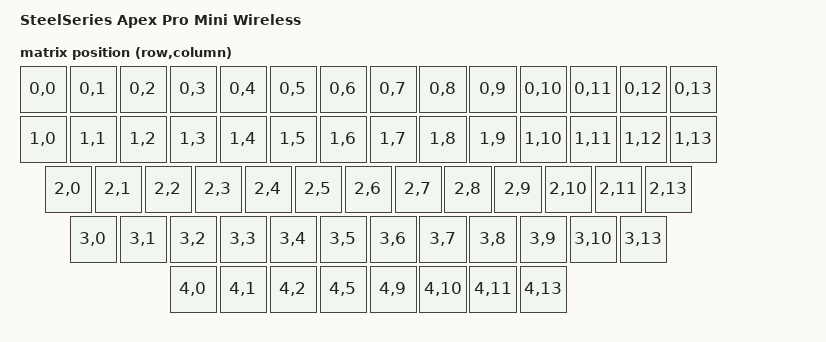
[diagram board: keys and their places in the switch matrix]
/* SPDX-License-Identifier: MIT */

/dts-v1/;
#include <nordic/nrf52833_qiaa.dtsi>
#include <dt-bindings/zmk/matrix_transform.h>
#include <layouts/common/60percent/ansi.dtsi>
#include "apex_pro_mini_wl-pinctrl.dtsi"

/ {
    model = "SteelSeries Apex Pro Mini Wireless";
    compatible = "steelseries,apex-pro-mini-wl";

    chosen {
        zephyr,sram = &sram0;
        zephyr,flash = &flash0;
        zephyr,code-partition = &code_partition;
        zmk,kscan = &kscan0;
        zmk,physical-layout = &layout_60_ansi;
    };

    default_transform: keymap_transform_0 {
        compatible = "zmk,matrix-transform";
        columns = <14>;
        rows = <5>;
        map = <
RC(0,0) RC(0,1) RC(0,2) RC(0,3) RC(0,4) RC(0,5) RC(0,6) RC(0,7) RC(0,8) RC(0,9) RC(0,10) RC(0,11) RC(0,12)     RC(0,13)
RC(1,0)   RC(1,1) RC(1,2) RC(1,3) RC(1,4) RC(1,5) RC(1,6) RC(1,7) RC(1,8) RC(1,9) RC(1,10) RC(1,11) RC(1,12)   RC(1,13)
RC(2,0)     RC(2,1) RC(2,2) RC(2,3) RC(2,4) RC(2,5) RC(2,6) RC(2,7) RC(2,8) RC(2,9) RC(2,10) RC(2,11)          RC(2,13)
RC(3,0)       RC(3,1) RC(3,2) RC(3,3) RC(3,4) RC(3,5) RC(3,6) RC(3,7) RC(3,8) RC(3,9)    RC(3,10)              RC(3,13)
RC(4,0)   RC(4,1)   RC(4,2)                      RC(4,5)                       RC(4,9)   RC(4,10)   RC(4,11)   RC(4,13)
        >;
    };

    kscan0: kscan {
        compatible = "steelseries,apex-stm32-kscan";
        rows = <5>;
        columns = <14>;
    };
};

&layout_60_ansi {
    transform = <&default_transform>;
};

&gpiote {
    status = "okay";
};

&gpio0 {
    status = "okay";
};

&gpio1 {
    status = "okay";
};

/*
 * Full 128 KiB SRAM. The old 0x20000000-0x20002fff (12 KiB) reservation was the
 * Nordic S113/s140 SoftDevice's RAM contract - reclaimed now that the SD is gone
 * (see docs/FLASH_MEMORY_MAP.md). Safe: the app relocates its vector table (VTOR
 * -> 0x1000, CONFIG_CPU_CORTEX_M_HAS_VTOR) so the MBR's IRQ-forwarding is
 * bypassed and needs no app RAM, and the Adafruit double-reset magic lives at
 * 0x20007F7C (untouched by this change; double-tap works on boot-window timing).
 */
&sram0 {
    reg = <0x20000000 0x00020000>;
};

/*
 * Stock firmware uses SPIM3 at 0x4002f000 with SCK P0.4, MOSI P0.6 and
 * MISO P0.7. It configures no hardware chip select. P0.2/P1.5 are driven
 * among the unresolved manual control signals. P0.24 signals a queued STM32
 * A1 event. The peripheral remains disabled until the transport driver is
 * enabled.
 */
&spi3 {
    compatible = "nordic,nrf-spim";
    pinctrl-0 = <&apex_stm32_spi_default>;
    pinctrl-1 = <&apex_stm32_spi_sleep>;
    pinctrl-names = "default", "sleep";
    overrun-character = <0>;
    status = "disabled";
};

zephyr_udc0: &usbd {
    /* The physical USB connector terminates at the stock STM32. */
    status = "disabled";
};

/*
 * Current Adafruit nRF52 bootloader layout (nRF52833, 512 KiB). The stock
 * loader and s140 are gone; the application uses Zephyr's controller and starts
 * immediately above the retained MBR. See docs/FLASH_MEMORY_MAP.md.
 */
&flash0 {
    partitions {
        compatible = "fixed-partitions";
        #address-cells = <1>;
        #size-cells = <1>;

        /* MBR only (0x0-0x1000). The s140 SoftDevice that used to sit at
         * 0x1000-0x27000 is GONE: ZMK uses Zephyr's own BLE controller and never
         * enabled the SD, and the Adafruit bootloader launches the app at
         * MBR_SIZE (0x1000) when no SD is present (is_sd_existed()==false). This
         * reclaims ~152 KiB - see docs/FLASH_MEMORY_MAP.md. */
        mbr_partition: partition@0 {
            reg = <0x00000000 0x00001000>;
        };

        /* Application slot, now right above the MBR. zephyr,code-partition ->
         * CONFIG_FLASH_LOAD_OFFSET derives 0x1000 (CONFIG_USE_DT_CODE_PARTITION). */
        code_partition: partition@1000 {
            label = "image-0";
            reg = <0x00001000 0x00071000>;
        };

        /* ZMK settings (bonds, RGB state, etc.). */
        storage_partition: partition@72000 {
            label = "storage";
            reg = <0x00072000 0x00002000>;
        };

        /* Adafruit bootloader (0x74000-0x7E000). MBR-params (0x7E000) and
         * bootloader-settings (0x7F000) are owned by the bootloader. */
        boot_partition: partition@74000 {
            reg = <0x00074000 0x0000A000>;
        };
    };
};

/ {
    behaviors {
        /* Toggles the analog gamepad axis. Declared here rather than in the
         * G4B overlay because the keymap is shared by every stage image, and a
         * behavior a shared keymap references has to resolve in all of them.
         * src/behavior_analog_g4b.c is compiled for every build of this board
         * for the same reason, falling back to stubs when the gamepad is off.
         */
        /* Reboot into the Adafruit bootloader (UF2/serial DFU). Bound via a
         * combo to Fn+Esc+RCtrl in the keymap. Declared here (like the others)
         * because the keymap is shared by every stage image. */
        apex_dfu: behavior_dfu {
            compatible = "apex,behavior-dfu";
            #binding-cells = <0>;
            display-name = "Bootloader (DFU)";
        };

        analog_tog: behavior_analog_toggle {
            compatible = "apex,behavior-analog-toggle";
            #binding-cells = <0>;
            /* What ZMK Studio shows. Without it the node renders as its raw
             * devicetree name, which tells a user nothing.
             */
            display-name = "Game Mode";
        };

        /* Actuation point, reset point and rapid trigger, from the keymap.
         *
         * One behavior with a parameter rather than five compatibles - they are
         * one control surface, and each devicetree behavior costs real space.
         * Parameter values are in dt-bindings/apex_actuation.h; the keymap
         * should use the ACT_* macros rather than bare numbers, because a
         * mismatch binds the wrong action with no error anywhere.
         */
        actuation: behavior_actuation {
            compatible = "apex,behavior-actuation";
            #binding-cells = <1>;
            display-name = "Actuation & Rapid Trigger";
        };
    };
};
